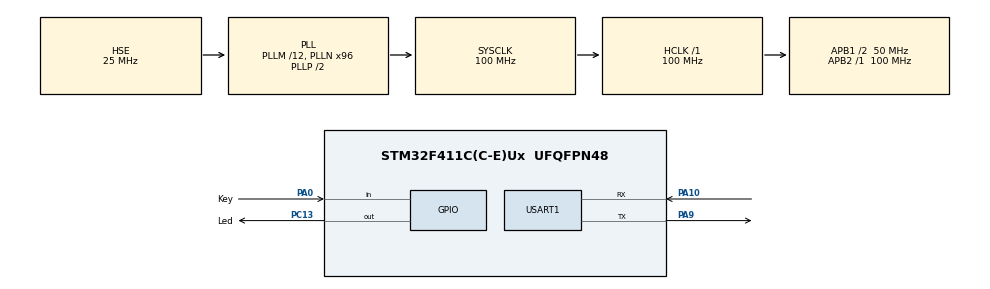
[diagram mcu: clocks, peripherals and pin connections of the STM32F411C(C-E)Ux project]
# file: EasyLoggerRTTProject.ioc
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FREERTOS.Tasks01=defaultTask,24,128,StartDefaultTask,Default,NULL,Dynamic,NULL,NULL
Mcu.Family=STM32F4
Mcu.Name=STM32F411C(C-E)Ux
Mcu.Package=UFQFPN48
NVIC.PriorityGroup=NVIC_PRIORITYGROUP_4
NVIC.TIM1_UP_TIM10_IRQn=true\:15\:0\:false\:false\:true\:false\:false\:true\:true
NVIC.TimeBase=TIM1_UP_TIM10_IRQn
NVIC.TimeBaseIP=TIM10
PA0-WKUP.GPIO_Label=Key
PA0-WKUP.GPIO_PuPd=GPIO_PULLUP
PA0-WKUP.Signal=GPIO_Input
PA10.Mode=Asynchronous
PA10.Signal=USART1_RX
PA13.Mode=Trace_Asynchronous_SW
PA13.Signal=SYS_JTMS-SWDIO
PA14.Mode=Trace_Asynchronous_SW
PA14.Signal=SYS_JTCK-SWCLK
PA9.Mode=Asynchronous
PA9.Signal=USART1_TX
PB3.Mode=Trace_Asynchronous_SW
PB3.Signal=SYS_JTDO-SWO
PC13-ANTI_TAMP.GPIO_Label=Led
PC13-ANTI_TAMP.Signal=GPIO_Output
PC14-OSC32_IN.Mode=LSE-External-Oscillator
PC14-OSC32_IN.Signal=RCC_OSC32_IN
PC15-OSC32_OUT.Mode=LSE-External-Oscillator
PC15-OSC32_OUT.Signal=RCC_OSC32_OUT
PH0\ -\ OSC_IN.Mode=HSE-External-Oscillator
PH0\ -\ OSC_IN.Signal=RCC_OSC_IN
PH1\ -\ OSC_OUT.Mode=HSE-External-Oscillator
PH1\ -\ OSC_OUT.Signal=RCC_OSC_OUT
ProjectManager.HeapSize=0x200
ProjectManager.StackSize=0x400
ProjectManager.TargetToolchain=MDK-ARM V5.32
RCC.48MHZClocksFreq_Value=50000000
RCC.AHBFreq_Value=100000000
RCC.APB1CLKDivider=RCC_HCLK_DIV2
RCC.APB1Freq_Value=50000000
RCC.APB1TimFreq_Value=100000000
RCC.APB2Freq_Value=100000000
RCC.APB2TimFreq_Value=100000000
RCC.CortexFreq_Value=100000000
RCC.HCLKFreq_Value=100000000
RCC.HSE_VALUE=25000000
RCC.HSI_VALUE=16000000
RCC.PLLM=12
RCC.PLLN=96
RCC.PLLSourceVirtual=RCC_PLLSOURCE_HSE
RCC.SYSCLKFreq_VALUE=100000000
RCC.SYSCLKSource=RCC_SYSCLKSOURCE_PLLCLK
RCC.VCOOutputFreq_Value=200000000
RTC.Format=RTC_FORMAT_BIN
USART1.VirtualMode=VM_ASYNC
VP_FREERTOS_VS_CMSIS_V2.Mode=CMSIS_V2
VP_RTC_VS_RTC_Activate.Mode=RTC_Enabled
VP_RTC_VS_RTC_Calendar.Mode=RTC_Calendar
VP_SYS_VS_tim10.Mode=TIM10
board=custom

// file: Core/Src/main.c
/* USER CODE BEGIN Header */
/**
  ******************************************************************************
  * @file           : main.c
  * @brief          : Main program body
  ******************************************************************************
  * @attention
  *
  * Copyright (c) 2024 STMicroelectronics.
  * All rights reserved.
  *
  * This software is licensed under terms that can be found in the LICENSE file
  * in the root directory of this software component.
  * If no LICENSE file comes with this software, it is provided AS-IS.
  *
  ******************************************************************************
  */
/* USER CODE END Header */
#include "main.h"
#include "cmsis_os.h"
#include "rtc.h"
#include "usart.h"
#include "gpio.h"

/* USER CODE BEGIN Includes */
#include "elog.h"
#include "stdio.h"
#include "cm_backtrace.h"
#include "SEGGER_SYSVIEW.h"

/* USER CODE END Includes */

/* USER CODE BEGIN PD */
#define HARDWARE_VERSION               "V1.0.0"
#define SOFTWARE_VERSION               "V0.1.0"
/* USER CODE END PD */

void SystemClock_Config(void);
void MX_FREERTOS_Init(void);

int main(void)
{

  /* MCU Configuration--------------------------------------------------------*/

  /* Reset of all peripherals, Initializes the Flash interface and the Systick. */
  HAL_Init();

  /* Configure the system clock */
  SystemClock_Config();

  /* Initialize all configured peripherals */
  MX_GPIO_Init();
  MX_RTC_Init();
  MX_USART1_UART_Init();
  /* USER CODE BEGIN 2 */
	SEGGER_SYSVIEW_Conf(); /* Configure and initialize SystemView */
	elog_init();
	elog_set_fmt(ELOG_LVL_ASSERT, ELOG_FMT_ALL);
	elog_set_fmt(ELOG_LVL_ERROR, ELOG_FMT_LVL | ELOG_FMT_TAG | ELOG_FMT_TIME);
	elog_set_fmt(ELOG_LVL_WARN, ELOG_FMT_LVL | ELOG_FMT_TAG | ELOG_FMT_TIME);
	elog_set_fmt(ELOG_LVL_INFO, ELOG_FMT_LVL | ELOG_FMT_TAG | ELOG_FMT_TIME);
	elog_set_fmt(ELOG_LVL_DEBUG, ELOG_FMT_ALL & ~ELOG_FMT_FUNC);
	elog_set_fmt(ELOG_LVL_VERBOSE, ELOG_FMT_ALL & ~ELOG_FMT_FUNC);
	elog_start();
  cm_backtrace_init("EasyLoggerRTTProject", HARDWARE_VERSION, SOFTWARE_VERSION);
  /* USER CODE END 2 */

  /* Init scheduler */
  osKernelInitialize();

  /* Call init function for freertos objects (in cmsis_os2.c) */
  MX_FREERTOS_Init();

  /* Start scheduler */
  osKernelStart();

  /* We should never get here as control is now taken by the scheduler */

  /* Infinite loop */
  while (1)
  {

  }
}

void SystemClock_Config(void)
{
  RCC_OscInitTypeDef RCC_OscInitStruct = {0};
  RCC_ClkInitTypeDef RCC_ClkInitStruct = {0};

  /** Configure the main internal regulator output voltage
  */
  __HAL_RCC_PWR_CLK_ENABLE();
  __HAL_PWR_VOLTAGESCALING_CONFIG(PWR_REGULATOR_VOLTAGE_SCALE1);

  /** Initializes the RCC Oscillators according to the specified parameters
  * in the RCC_OscInitTypeDef structure.
  */
  RCC_OscInitStruct.OscillatorType = RCC_OSCILLATORTYPE_LSI|RCC_OSCILLATORTYPE_HSE;
  RCC_OscInitStruct.HSEState = RCC_HSE_ON;
  RCC_OscInitStruct.LSIState = RCC_LSI_ON;
  RCC_OscInitStruct.PLL.PLLState = RCC_PLL_ON;
  RCC_OscInitStruct.PLL.PLLSource = RCC_PLLSOURCE_HSE;
  RCC_OscInitStruct.PLL.PLLM = 12;
  RCC_OscInitStruct.PLL.PLLN = 96;
  RCC_OscInitStruct.PLL.PLLP = RCC_PLLP_DIV2;
  RCC_OscInitStruct.PLL.PLLQ = 4;
  if (HAL_RCC_OscConfig(&RCC_OscInitStruct) != HAL_OK)
  {
    Error_Handler();
  }

  /** Initializes the CPU, AHB and APB buses clocks
  */
  RCC_ClkInitStruct.ClockType = RCC_CLOCKTYPE_HCLK|RCC_CLOCKTYPE_SYSCLK
                              |RCC_CLOCKTYPE_PCLK1|RCC_CLOCKTYPE_PCLK2;
  RCC_ClkInitStruct.SYSCLKSource = RCC_SYSCLKSOURCE_PLLCLK;
  RCC_ClkInitStruct.AHBCLKDivider = RCC_SYSCLK_DIV1;
  RCC_ClkInitStruct.APB1CLKDivider = RCC_HCLK_DIV2;
  RCC_ClkInitStruct.APB2CLKDivider = RCC_HCLK_DIV1;

  if (HAL_RCC_ClockConfig(&RCC_ClkInitStruct, FLASH_LATENCY_3) != HAL_OK)
  {
    Error_Handler();
  }
}

void HAL_TIM_PeriodElapsedCallback(TIM_HandleTypeDef *htim)
{
  if (htim->Instance == TIM10) {
    HAL_IncTick();
  }
}

void Error_Handler(void)
{
  __disable_irq();
  while (1)
  {
  }
}

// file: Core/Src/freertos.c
/* USER CODE BEGIN Header */
/**
  ******************************************************************************
  * File Name          : freertos.c
  * Description        : Code for freertos applications
  ******************************************************************************
  * @attention
  *
  * Copyright (c) 2025 STMicroelectronics.
  * All rights reserved.
  *
  * This software is licensed under terms that can be found in the LICENSE file
  * in the root directory of this software component.
  * If no LICENSE file comes with this software, it is provided AS-IS.
  *
  ******************************************************************************
  */
/* USER CODE END Header */

#include "FreeRTOS.h"
#include "task.h"
#include "main.h"
#include "cmsis_os.h"

/* USER CODE BEGIN Includes */
#include <stdio.h>
#include "elog.h"
#include "semphr.h"
#include "AHT21.h"
/* USER CODE END Includes */

/* Definitions for defaultTask */
osThreadId_t defaultTaskHandle;
const osThreadAttr_t defaultTask_attributes = {
  .name = "defaultTask",
  .stack_size = 128 * 4,
  .priority = (osPriority_t) osPriorityNormal,
};
osThreadId_t appTaskHandle;
const osThreadAttr_t appTask_attributes = {
  .name = "appTask",
  .stack_size = 128 * 4,
  .priority = (osPriority_t) osPriorityNormal,
};
/* USER CODE BEGIN FunctionPrototypes */
void AppTask(void *arg);
void fault_test_by_div0(void);
void bsp_for_aht21_function(void const * argument);
/* USER CODE END FunctionPrototypes */

void StartDefaultTask(void *argument);

void MX_FREERTOS_Init(void); /* (MISRA C 2004 rule 8.1) */

void MX_FREERTOS_Init(void) {

  /* Create the thread(s) */
  /* creation of defaultTask */
  defaultTaskHandle = osThreadNew(StartDefaultTask, NULL, &defaultTask_attributes);

  /* USER CODE BEGIN RTOS_THREADS */
	appTaskHandle = osThreadNew(AppTask, NULL, &appTask_attributes);
  /* USER CODE END RTOS_THREADS */

}

void StartDefaultTask(void *argument)
{
  /* USER CODE BEGIN StartDefaultTask */
  /* Infinite loop */
	static const char* TAG = "main";
  elog_i(TAG,"hello world");
  for(;;)
  {
//    elog_i(TAG,"default task");
//    elog_raw("Task '%s' Stack High Water Mark: %u words\n",
//          pcTaskGetName(NULL),
//          uxTaskGetStackHighWaterMark(NULL));

    osDelay(1500);
  }
  /* USER CODE END StartDefaultTask */
}

/* USER CODE BEGIN Application */
void bsp_for_aht21_function(void const * argument)
{
  /* USER CODE BEGIN bsp_for_aht21_function */
  /* Infinite loop */
	static const char* TAG = "app";
	osDelay(500);
	AHT_Init();
	float humidity = 0;
	float temperature = 0;
  for(;;)
  {
		AHT_Read(&humidity,&temperature);
		elog_i(TAG,"\nthe temperature = [%f],\r\n"
					 "the humidity   = [%f]\r\n",temperature,humidity);
    osDelay(500);
  }
  /* USER CODE END bsp_for_aht21_function */
}
void AppTask(void *arg)
{
	static const char* TAG = "app";
  elog_i(TAG,"hello world");
	bsp_for_aht21_function(NULL);
  for(;;)
  {
    elog_i(TAG,"app task");
    osDelay(1000);
  }
}

void fault_test_by_div0(void) {
    volatile int * SCB_CCR = (volatile int *) 0xE000ED14; // SCB->CCR
    int x, y, z;

    *SCB_CCR |= (1 << 4); /* bit4: DIV_0_TRP. */

    x = 10;
    y = 0;
    z = x / y;
}
/* USER CODE END Application */
